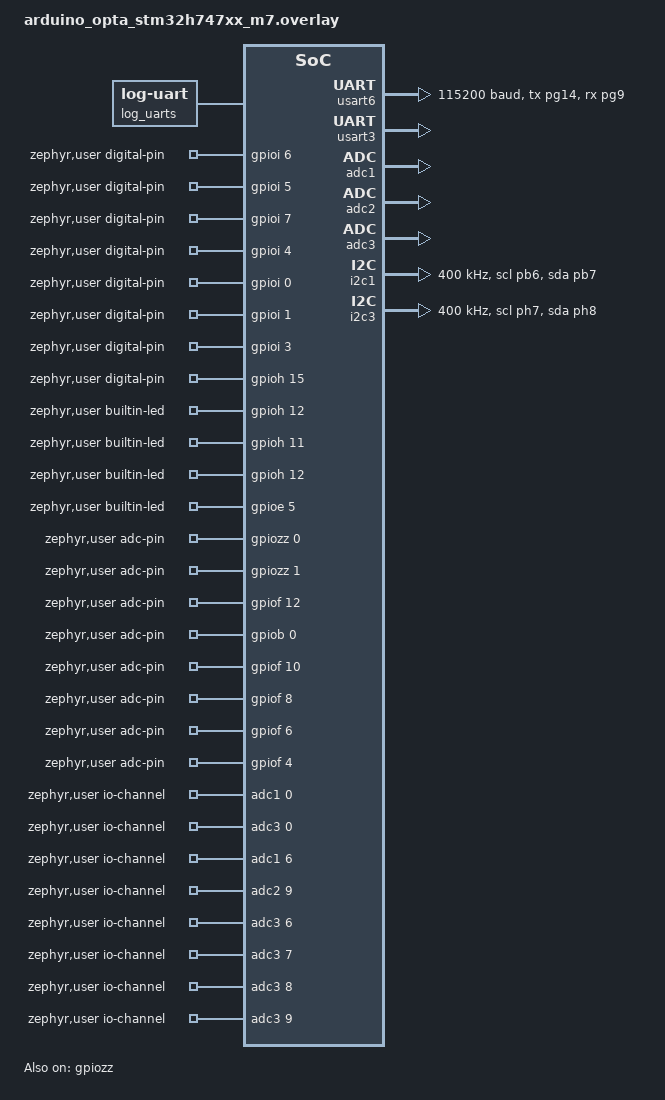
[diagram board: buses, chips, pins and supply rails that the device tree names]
&usart6 {
	status = "okay";
	pinctrl-0 = <&usart6_tx_pg14 &usart6_rx_pg9>;
	pinctrl-names = "default";
	current-speed = <115200>;
};

&usart3 {
	status = "okay";
};

&adc1 {
	status = "okay";
};

&adc2 {
	status = "okay";
};

&adc3 {
	status = "okay";
};

&i2c1 {
	status = "okay";
	pinctrl-0 = <&i2c1_scl_pb6 &i2c1_sda_pb7>;
	pinctrl-names = "default";
	clock-frequency = <I2C_BITRATE_FAST>;
};

&i2c3 {
	status = "okay";
	pinctrl-0 = <&i2c3_scl_ph7 &i2c3_sda_ph8>;
	pinctrl-names = "default";
	clock-frequency = <I2C_BITRATE_FAST>;
};

/{
	chosen {
		zephyr,console = &usart6;
		zephyr,shell-uart = &usart6;
		zephyr,uart-mcumgr = &usart6;
		zephyr,log-uart = &log_uarts;
	};

	log_uarts: log_uarts {
		compatible = "zephyr,log-uart";
		uarts = <&usart6 &board_cdc_acm_uart>;
	};

	/* used to overcome problems with _C analog pins */
	gpiozz: gpio@deadbeef {
		compatible = "vnd,gpio";
		gpio-controller;
		reg = <0xdeadbeef 0x1000>;
		#gpio-cells = <0x2>;
		status = "okay";
	};
};

&flash0 {
	bank2-flash-size = <1024>;
	partitions {
		user_sketch: partition@e0000 {
			reg = <0x0E0000 0x20000>;
		};
	};
};

/ {
	zephyr,user {
		digital-pin-gpios = <&gpioi 6 0>,	/* Outputs */
						<&gpioi 5 0>,
						<&gpioi 7 0>,
						<&gpioi 4 0>,
						<&gpioi 0 0>,	/* LEDs */
						<&gpioi 1 0>,
						<&gpioi 3 0>,
						<&gpioh 15 0>,
						<&gpioh 12 0>,
						<&gpioh 11 0>,
						<&gpioe 5 0>,
						<&gpioe 4 0>,	/* User button */
						<&gpiozz 0 0>,	/* Inputs */
						<&gpiozz 1 0>,
						<&gpiof 12 0>,
						<&gpiob 0 0>,
						<&gpiof 10 0>,
						<&gpiof 8 0>,
						<&gpiof 6 0>,
						<&gpiof 4 0>,
						<&gpiog 8 0>,	/* bus detect */
						<&gpiob 14 0>,  /* Modbus DE */
						<&gpiob 13 0>;  /* Modbus RE */

		builtin-led-gpios = <&gpioh 12 0>,
						<&gpioh 11 0>,
						<&gpioh 12 0>,
                        <&gpioe 5 0>;

		adc-pin-gpios =	<&gpiozz 0 0>,
					<&gpiozz 1 0>,
					<&gpiof 12 0>,
					<&gpiob 0 0>,
					<&gpiof 10 0>,
					<&gpiof 8 0>,
					<&gpiof 6 0>,
					<&gpiof 4 0>;

		serials = <&board_cdc_acm_uart>, <&usart3>, <&usart6>;
		cdc-acm = <&board_cdc_acm_uart>;
		i2cs = <&i2c3>, <&i2c1>;

		io-channels =	<&adc1 0>,
				<&adc3 0>,
				<&adc1 6>,
				<&adc2 9>,
				<&adc3 6>,
				<&adc3 7>,
				<&adc3 8>,
				<&adc3 9>;
	};
};

/* Include common flash filesystem configuration */
#include "../common/arduino_flash_fs.dtsi"
